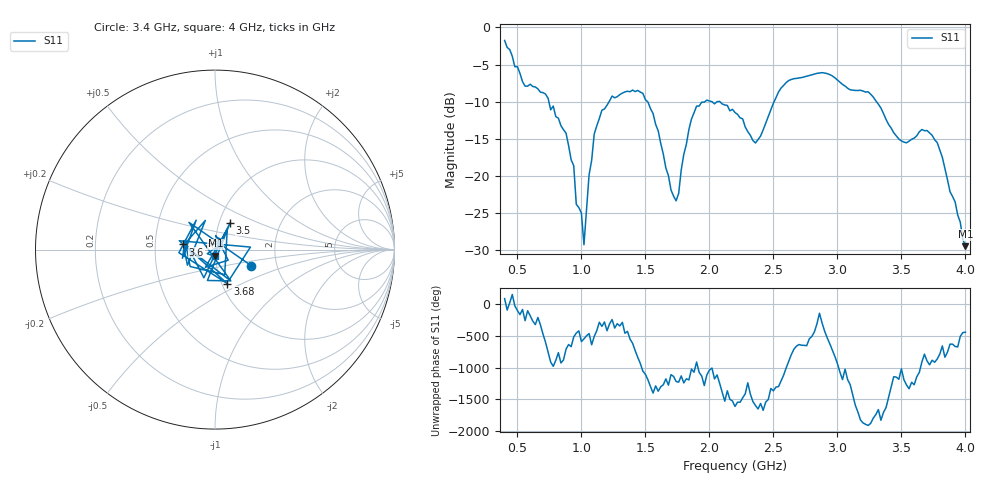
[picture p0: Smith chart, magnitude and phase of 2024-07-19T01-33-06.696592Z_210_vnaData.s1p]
!Created with skrf (http://scikit-rf.org).
# Hz S RI R 50.0
!freq ReS11 ImS11
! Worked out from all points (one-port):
!   181 points, 400 MHz to 4 GHz, reference 50 ohm
!   lowest |S11| = -29.5 dB at 4 GHz (marker M1), VSWR 1.07, Z = 50.1 - j3.36 ohm
!   |S11| at or under -10 dB: 745.7 MHz to 1.217 GHz (470.9 MHz wide, 48 % of centre); 1.517 GHz to 1.965 GHz (448.3 MHz wide, 25.8 % of centre); 3.305 GHz to end of sweep (the widest 3 of 5)
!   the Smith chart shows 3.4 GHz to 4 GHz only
!   S11 on the Smith chart (normalised r, x): 3.4 GHz: 1.48, -0.28; 3.5 GHz: 1.13, +0.35; 3.6 GHz: 0.70, +0.04; 3.68 GHz: 1.06, -0.42; 4 GHz: 1.00, -0.07
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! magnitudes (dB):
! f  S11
! 400 MHz  -1.7
! 560 MHz  -7.9
! 720 MHz  -9.0
! 860 MHz  -13.8
! 940 MHz  -18.6
! 960 MHz  -23.8
! 1 GHz  -25.0
! 1.02 GHz  -29.3
! 1.06 GHz  -19.8
! 1.1 GHz  -14.4
! 1.3 GHz  -9.1
! 1.48 GHz  -8.9
! 1.6 GHz  -13.9
! 1.7 GHz  -21.9
! 1.76 GHz  -22.4
! 1.9 GHz  -10.6
! 2.2 GHz  -11.5
! 2.36 GHz  -15.6
! 2.66 GHz  -6.9
! 3.1 GHz  -8.4
! 3.24 GHz  -8.7
! 3.4 GHz  -13.1
! 3.5 GHz  -15.3
! 3.56 GHz  -15.3
! 3.6 GHz  -14.9
! 3.68 GHz  -13.9
! 3.78 GHz  -15.5
! 4 GHz  -29.5
